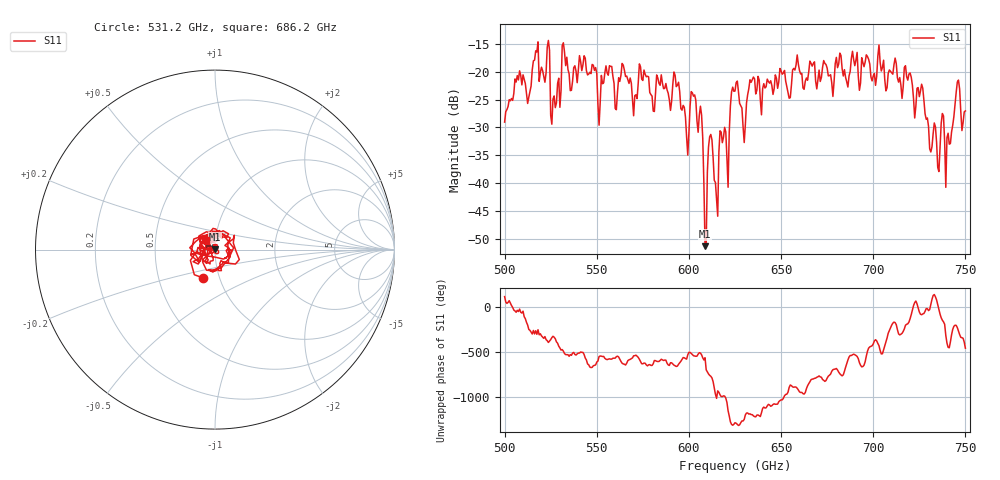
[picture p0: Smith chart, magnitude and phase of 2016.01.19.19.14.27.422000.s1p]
!Created with skrf (http://scikit-rf.org).
# GHz S RI R 50.0
!freq ReS11 ImS11
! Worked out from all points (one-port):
!   401 points, 500 GHz to 750 GHz, reference 50 ohm
!   lowest |S11| = -51.3 dB at 608.8 GHz (marker M1), VSWR 1.01, Z = 49.7 + j0.107 ohm
!   |S11| at or under -10 dB: start of sweep to end of sweep
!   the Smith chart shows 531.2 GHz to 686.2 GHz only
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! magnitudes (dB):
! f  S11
! 500 GHz  -29.0
! 506.9 GHz  -20.7
! 513.1 GHz  -24.6
! 516.9 GHz  -16.3
! 523.1 GHz  -15.6
! 526.2 GHz  -24.9
! 531.2 GHz  -15.3
! 548.8 GHz  -19.8
! 551.9 GHz  -25.4
! 562.5 GHz  -21.8
! 593.8 GHz  -22.4
! 598.8 GHz  -31.7
! 602.5 GHz  -24.4
! 606.2 GHz  -26.2
! 608.8 GHz  -51.3
! 611.2 GHz  -31.7
! 615 GHz  -42.8
! 617.5 GHz  -30.8
! 625 GHz  -23.5
! 629.4 GHz  -29.9
! 634.4 GHz  -21.4
! 656.2 GHz  -19.7
! 687.5 GHz  -20.0
! 718.8 GHz  -21.5
! 735 GHz  -37.2
! 740.6 GHz  -31.0
! 745.6 GHz  -21.9
! 750 GHz  -27.0
